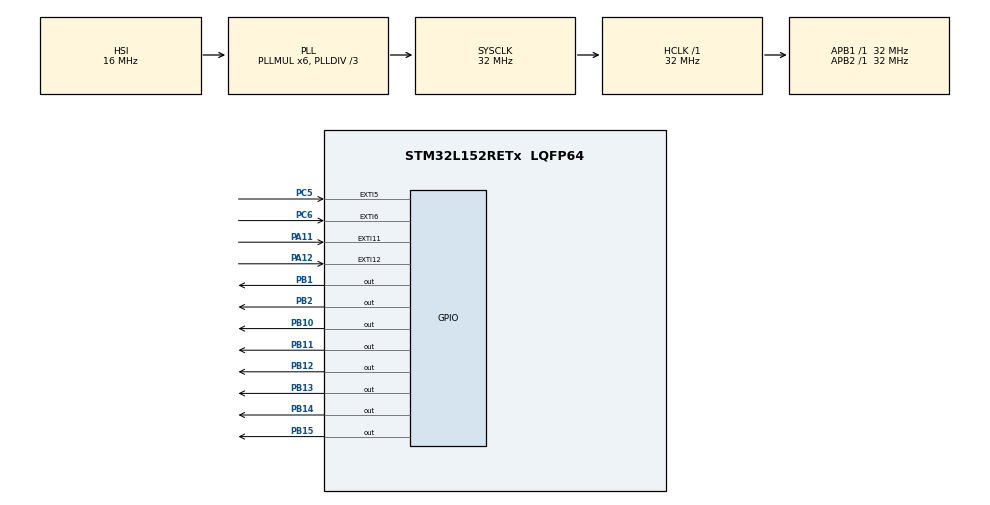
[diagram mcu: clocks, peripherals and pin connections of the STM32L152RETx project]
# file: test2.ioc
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Mcu.Family=STM32L1
Mcu.Name=STM32L152RETx
Mcu.Package=LQFP64
NVIC.EXTI15_10_IRQn=true\:0\:0\:false\:false\:true\:true\:true
NVIC.EXTI9_5_IRQn=true\:0\:0\:false\:false\:true\:true\:true
NVIC.PriorityGroup=NVIC_PRIORITYGROUP_0
PA11.Signal=GPXTI11
PA12.Signal=GPXTI12
PB1.Signal=GPIO_Output
PB10.Signal=GPIO_Output
PB11.Signal=GPIO_Output
PB12.Signal=GPIO_Output
PB13.Signal=GPIO_Output
PB14.Signal=GPIO_Output
PB15.Signal=GPIO_Output
PB2.Signal=GPIO_Output
PC5.Signal=GPXTI5
PC6.Signal=GPXTI6
ProjectManager.HeapSize=0x200
ProjectManager.StackSize=0x400
ProjectManager.TargetToolchain=SW4STM32
RCC.48MHZClocksFreq_Value=48000000
RCC.AHBFreq_Value=32000000
RCC.APB1Freq_Value=32000000
RCC.APB1TimFreq_Value=32000000
RCC.APB2Freq_Value=32000000
RCC.APB2TimFreq_Value=32000000
RCC.HCLKFreq_Value=32000000
RCC.HSE_VALUE=8000000
RCC.HSI_VALUE=16000000
RCC.LSE_VALUE=32768
RCC.MSI_VALUE=2097000
RCC.PLLDIV=RCC_PLL_DIV3
RCC.PLLMUL=RCC_PLL_MUL6
RCC.RTCClockSelectionVirtual=RCC_RTCCLKSOURCE_LSE
RCC.SYSCLKFreq_VALUE=32000000
RCC.SYSCLKSource=RCC_SYSCLKSOURCE_PLLCLK
RCC.USBOutput=48000000
RCC.VCOOutputFreq_Value=96000000
board=NUCLEO-L152RE

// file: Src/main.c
/* USER CODE BEGIN Header */
/**
  ******************************************************************************
  * @file           : main.c
  * @brief          : Main program body
  ******************************************************************************
  * @attention
  *
  * <h2><center>&copy; Copyright (c) 2020 STMicroelectronics.
  * All rights reserved.</center></h2>
  *
  * This software component is licensed by ST under BSD 3-Clause license,
  * the "License"; You may not use this file except in compliance with the
  * License. You may obtain a copy of the License at:
  *                        opensource.org/licenses/BSD-3-Clause
  *
  ******************************************************************************
  */
/* USER CODE END Header */

#include "main.h"

/* USER CODE BEGIN PD */
int LED[8] = { GPIO_PIN_1, GPIO_PIN_2, GPIO_PIN_10, GPIO_PIN_11, GPIO_PIN_12, GPIO_PIN_13, GPIO_PIN_14, GPIO_PIN_15 };

int BUTTON_GPIO[4] = { GPIOA, GPIOA, GPIOC, GPIOC };
int BUTTON[4] = { GPIO_PIN_11, GPIO_PIN_12, GPIO_PIN_6, GPIO_PIN_5 };

/* USER CODE END PD */

void SystemClock_Config(void);
static void MX_GPIO_Init(void);

/* USER CODE BEGIN 0 */
void ToogleLed(int ledNumber) {
	HAL_GPIO_TogglePin(GPIOB, ledNumber);
}
/* USER CODE END 0 */

int main(void)
{

  /* MCU Configuration--------------------------------------------------------*/

  /* Reset of all peripherals, Initializes the Flash interface and the Systick. */
  HAL_Init();

  /* Configure the system clock */
  SystemClock_Config();

  /* Initialize all configured peripherals */
  MX_GPIO_Init();

  /* Infinite loop */
  /* USER CODE BEGIN WHILE */
  int counter = 0;
  for (int i=0; i<8; i++)
	  HAL_GPIO_WritePin(GPIOB, LED[i], GPIO_PIN_RESET);

  while (1)
  {
    /* USER CODE END WHILE */

    /* USER CODE BEGIN 3 */

//	  for(int i=0; i<4; i++)
//		  HAL_GPIO_WritePin(GPIOB, LED[i], !HAL_GPIO_ReadPin(BUTTON_GPIO[i], BUTTON[i]));

  }
  /* USER CODE END 3 */
}

void SystemClock_Config(void)
{
  RCC_OscInitTypeDef RCC_OscInitStruct = {0};
  RCC_ClkInitTypeDef RCC_ClkInitStruct = {0};

  /** Configure the main internal regulator output voltage
  */
  __HAL_PWR_VOLTAGESCALING_CONFIG(PWR_REGULATOR_VOLTAGE_SCALE1);
  /** Initializes the CPU, AHB and APB busses clocks
  */
  RCC_OscInitStruct.OscillatorType = RCC_OSCILLATORTYPE_HSI;
  RCC_OscInitStruct.HSIState = RCC_HSI_ON;
  RCC_OscInitStruct.HSICalibrationValue = RCC_HSICALIBRATION_DEFAULT;
  RCC_OscInitStruct.PLL.PLLState = RCC_PLL_ON;
  RCC_OscInitStruct.PLL.PLLSource = RCC_PLLSOURCE_HSI;
  RCC_OscInitStruct.PLL.PLLMUL = RCC_PLL_MUL6;
  RCC_OscInitStruct.PLL.PLLDIV = RCC_PLL_DIV3;
  if (HAL_RCC_OscConfig(&RCC_OscInitStruct) != HAL_OK)
  {
    Error_Handler();
  }
  /** Initializes the CPU, AHB and APB busses clocks
  */
  RCC_ClkInitStruct.ClockType = RCC_CLOCKTYPE_HCLK|RCC_CLOCKTYPE_SYSCLK
                              |RCC_CLOCKTYPE_PCLK1|RCC_CLOCKTYPE_PCLK2;
  RCC_ClkInitStruct.SYSCLKSource = RCC_SYSCLKSOURCE_PLLCLK;
  RCC_ClkInitStruct.AHBCLKDivider = RCC_SYSCLK_DIV1;
  RCC_ClkInitStruct.APB1CLKDivider = RCC_HCLK_DIV1;
  RCC_ClkInitStruct.APB2CLKDivider = RCC_HCLK_DIV1;

  if (HAL_RCC_ClockConfig(&RCC_ClkInitStruct, FLASH_LATENCY_1) != HAL_OK)
  {
    Error_Handler();
  }
}

static void MX_GPIO_Init(void)
{
  GPIO_InitTypeDef GPIO_InitStruct = {0};

  /* GPIO Ports Clock Enable */
  __HAL_RCC_GPIOC_CLK_ENABLE();
  __HAL_RCC_GPIOB_CLK_ENABLE();
  __HAL_RCC_GPIOA_CLK_ENABLE();

  /*Configure GPIO pin Output Level */
  HAL_GPIO_WritePin(GPIOB, GPIO_PIN_1|GPIO_PIN_2|GPIO_PIN_10|GPIO_PIN_11
                          |GPIO_PIN_12|GPIO_PIN_13|GPIO_PIN_14|GPIO_PIN_15, GPIO_PIN_RESET);

  /*Configure GPIO pins : PC5 PC6 */
  GPIO_InitStruct.Pin = GPIO_PIN_5|GPIO_PIN_6;
  GPIO_InitStruct.Mode = GPIO_MODE_IT_RISING;
  GPIO_InitStruct.Pull = GPIO_NOPULL;
  HAL_GPIO_Init(GPIOC, &GPIO_InitStruct);

  /*Configure GPIO pins : PB1 PB2 PB10 PB11
                           PB12 PB13 PB14 PB15 */
  GPIO_InitStruct.Pin = GPIO_PIN_1|GPIO_PIN_2|GPIO_PIN_10|GPIO_PIN_11
                          |GPIO_PIN_12|GPIO_PIN_13|GPIO_PIN_14|GPIO_PIN_15;
  GPIO_InitStruct.Mode = GPIO_MODE_OUTPUT_PP;
  GPIO_InitStruct.Pull = GPIO_NOPULL;
  GPIO_InitStruct.Speed = GPIO_SPEED_FREQ_LOW;
  HAL_GPIO_Init(GPIOB, &GPIO_InitStruct);

  /*Configure GPIO pins : PA11 PA12 */
  GPIO_InitStruct.Pin = GPIO_PIN_11|GPIO_PIN_12;
  GPIO_InitStruct.Mode = GPIO_MODE_IT_RISING;
  GPIO_InitStruct.Pull = GPIO_NOPULL;
  HAL_GPIO_Init(GPIOA, &GPIO_InitStruct);

  /* EXTI interrupt init*/
  HAL_NVIC_SetPriority(EXTI9_5_IRQn, 0, 0);
  HAL_NVIC_EnableIRQ(EXTI9_5_IRQn);

  HAL_NVIC_SetPriority(EXTI15_10_IRQn, 0, 0);
  HAL_NVIC_EnableIRQ(EXTI15_10_IRQn);

}

/* USER CODE BEGIN 4 */
#define DEBOUNDCING_TIME 200

void HAL_GPIO_EXTI_Callback(uint16_t GPIO_Pin) {

	static uint32_t lastTick11 = 0;
	static uint32_t lastTick12 = 0;
	static uint32_t lastTick5 = 0;
	static uint32_t lastTick6 = 0;
	uint32_t newTick = HAL_GetTick();

	switch ( GPIO_Pin ) {
	case GPIO_PIN_11:
		if(newTick - lastTick11  >= DEBOUNDCING_TIME) {
			HAL_GPIO_TogglePin(GPIOB, LED[0]);
		}
		lastTick11 = newTick;
		break;
	case GPIO_PIN_12:
		if(newTick - lastTick12  >= DEBOUNDCING_TIME) {
		HAL_GPIO_TogglePin(GPIOB, LED[1]);
		}
		lastTick12 = newTick;

		break;
	case GPIO_PIN_5:
		if(newTick - lastTick5  >= DEBOUNDCING_TIME) {
		HAL_GPIO_TogglePin(GPIOB, LED[2]);
		}
		lastTick5 = newTick;

		break;
	case GPIO_PIN_6:
		if(newTick - lastTick6  >= DEBOUNDCING_TIME) {
		HAL_GPIO_TogglePin(GPIOB, LED[3]);
		}
		lastTick6 = newTick;
		break;
	}
}
/* USER CODE END 4 */

void Error_Handler(void)
{
}

/************************ (C) COPYRIGHT STMicroelectronics *****END OF FILE****/
